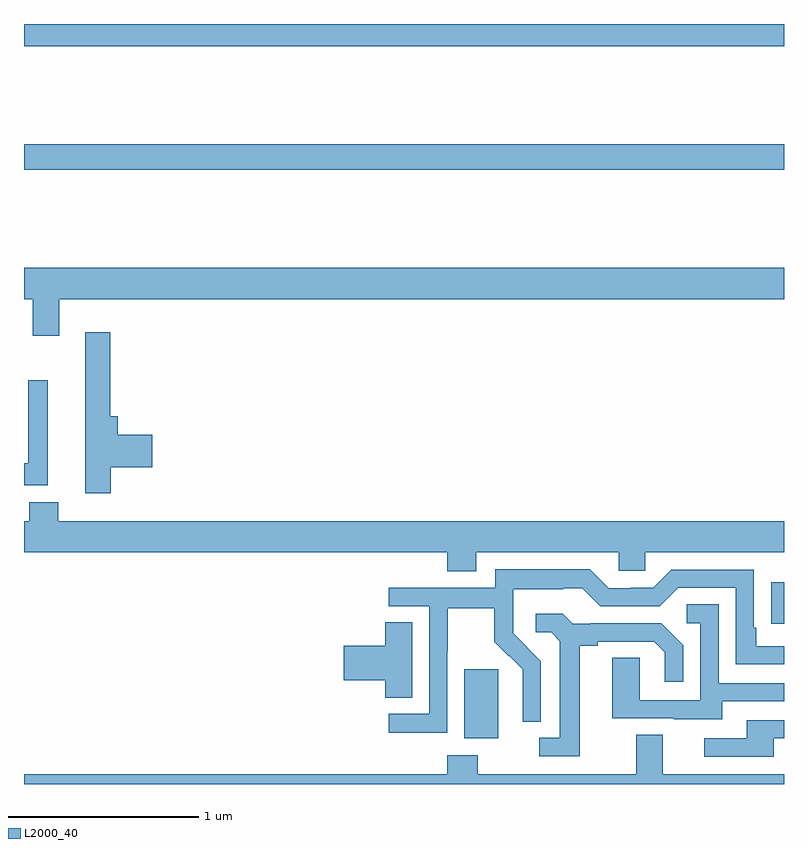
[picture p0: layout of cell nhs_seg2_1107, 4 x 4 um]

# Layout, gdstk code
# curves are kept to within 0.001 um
import gdstk
lib = gdstk.Library(unit=1e-6, precision=1e-09)
def R(c, l, rs):  # rectangles x0, y0, x1, y1
    for r in rs: c.add(gdstk.rectangle(r[:2], r[2:], *l))
def P(c, l, *ps):  # polygons
    for p in ps: c.add(gdstk.Polygon(p, *l))
L2000_40 = (2000, 40)

nhs_seg2_1107 = lib.new_cell('nhs_seg2_1107')
R(nhs_seg2_1107, L2000_40, [(171.317,596.042,171.496,596.403), (172.933,596.644,173,596.863), (169,599.032,173,599.168), (169,599.684,173,599.8)])
P(nhs_seg2_1107, L2000_40, [(169.186,598.352),(173,598.352),(173,598.516),(169,598.516),(169,598.352),(169.046,598.352),(169.046,598.158),(169.186,598.158)],
  [(169.457,597.467),(169.675,597.467),(169.675,597.638),(169.493,597.638),(169.493,597.736),(169.454,597.736),(169.454,598.177),(169.322,598.177),(169.322,597.33),(169.457,597.33)],
  [(169.126,597.925),(169.022,597.925),(169.022,597.488),(169,597.488),(169,597.372),(169.126,597.372)],
  [(171.379,597.02),(172.131,597.02),(172.131,596.922),(172.269,596.922),(172.269,597.02),(173,597.02),(173,597.184),(169.181,597.184),(169.181,597.283),(169.028,597.283),(169.028,597.184),(169,597.184),(169,597.02),(171.227,597.02),(171.227,596.921),(171.379,596.921)],
  [(171.228,596.5),(171.231,596.5),(171.231,596.724),(171.475,596.724),(171.475,596.549),(171.552,596.472),(171.555,596.475),(171.626,596.405),(171.626,596.282),(171.624,596.282),(171.624,596.128),(171.72,596.128),(171.72,596.446),(171.574,596.594),(171.574,596.691),(171.576,596.691),(171.576,596.825),(171.839,596.825),(171.839,596.829),(171.939,596.829),(172.032,596.736),(172.347,596.736),(172.443,596.832),(172.746,596.832),(172.746,596.43),(173,596.43),(173,596.526),(172.855,596.526),(172.855,596.623),(172.842,596.623),(172.842,596.928),(172.407,596.928),(172.311,596.832),(172.193,596.832),(172.193,596.829),(172.077,596.829),(171.977,596.929),(171.48,596.929),(171.48,596.832),(170.919,596.832),(170.919,596.736),(171.132,596.736),(171.132,596.169),(170.919,596.169),(170.919,596.071),(171.228,596.071)],
  [(172.675,596.235),(173,596.235),(173,596.331),(172.656,596.331),(172.656,596.747),(172.488,596.747),(172.488,596.646),(172.56,596.646),(172.56,596.241),(172.242,596.241),(172.242,596.465),(172.097,596.465),(172.097,596.145),(172.421,596.145),(172.421,596.141),(172.675,596.141)],
  [(171.925,596.528),(172.021,596.528),(172.021,596.55),(172.316,596.55),(172.373,596.493),(172.373,596.337),(172.47,596.337),(172.47,596.53),(172.354,596.646),(171.982,596.646),(171.982,596.643),(171.888,596.643),(171.836,596.695),(171.693,596.695),(171.693,596.598),(171.774,596.598),(171.821,596.551),(171.821,596.043),(171.711,596.043),(171.711,595.947),(171.925,595.947)],
  [(171.043,596.651),(170.9,596.651),(170.9,596.528),(170.682,596.528),(170.682,596.345),(170.9,596.345),(170.9,596.254),(171.043,596.254)],
  [(172.945,596.04),(173,596.04),(173,596.136),(172.805,596.136),(172.805,596.04),(172.581,596.04),(172.581,595.944),(172.945,595.944)],
  [(173,595.852),(172.363,595.852),(172.363,596.06),(172.223,596.06),(172.223,595.852),(171.387,595.852),(171.387,595.951),(171.227,595.951),(171.227,595.852),(169,595.852),(169,595.8),(173,595.8)])

lib.write_gds('nhs_seg2_1107.gds')
